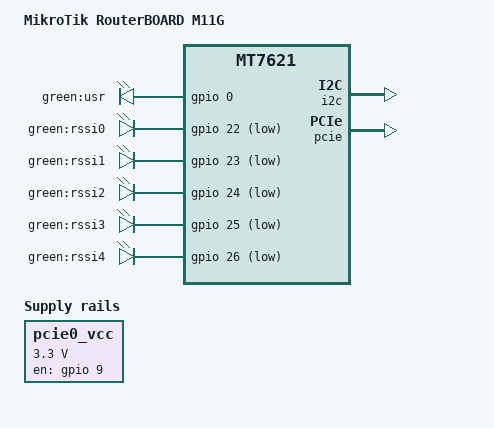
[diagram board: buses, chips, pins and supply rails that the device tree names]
#include "mt7621_mikrotik.dtsi"

/ {
	compatible = "mikrotik,routerboard-m11g", "mediatek,mt7621-soc";
	model = "MikroTik RouterBOARD M11G";

	aliases {
		led-boot = &led_usr;
		led-failsafe = &led_usr;
		led-running = &led_usr;
		led-upgrade = &led_usr;
	};

	leds {
		compatible = "gpio-leds";

		led_usr: usr {
			label = "green:usr";
			gpios = <&gpio 0 GPIO_ACTIVE_HIGH>;
		};

		rssi0 {
			label = "green:rssi0";
			gpios = <&gpio 22 GPIO_ACTIVE_LOW>;
		};

		rssi1 {
			label = "green:rssi1";
			gpios = <&gpio 23 GPIO_ACTIVE_LOW>;
		};

		rssi2 {
			label = "green:rssi2";
			gpios = <&gpio 24 GPIO_ACTIVE_LOW>;
		};

		rssi3 {
			label = "green:rssi3";
			gpios = <&gpio 25 GPIO_ACTIVE_LOW>;
		};

		rssi4 {
			label = "green:rssi4";
			gpios = <&gpio 26 GPIO_ACTIVE_LOW>;
		};
	};

	pcie0_vcc_reg {
		compatible = "regulator-fixed";
		regulator-name = "pcie0_vcc";

		regulator-min-microvolt = <3300000>;
		regulator-max-microvolt = <3300000>;
		gpio = <&gpio 9 GPIO_ACTIVE_HIGH>;
		enable-active-high;
		regulator-boot-on;
		regulator-always-on;
	};
};

&partitions {
	partition@40000 {
		compatible = "mikrotik,minor";
		label = "firmware";
		reg = <0x040000 0xfc0000>;
	};
};

&switch0 {
	ports {
		port@0 {
			status = "okay";
			label = "lan";
		};
	};
};

&state_default {
	gpio {
		groups = "uart2", "wdt", "rgmii2";
		function = "gpio";
	};
};

&i2c {
	status = "okay";
};

&pcie {
	status = "okay";
};
